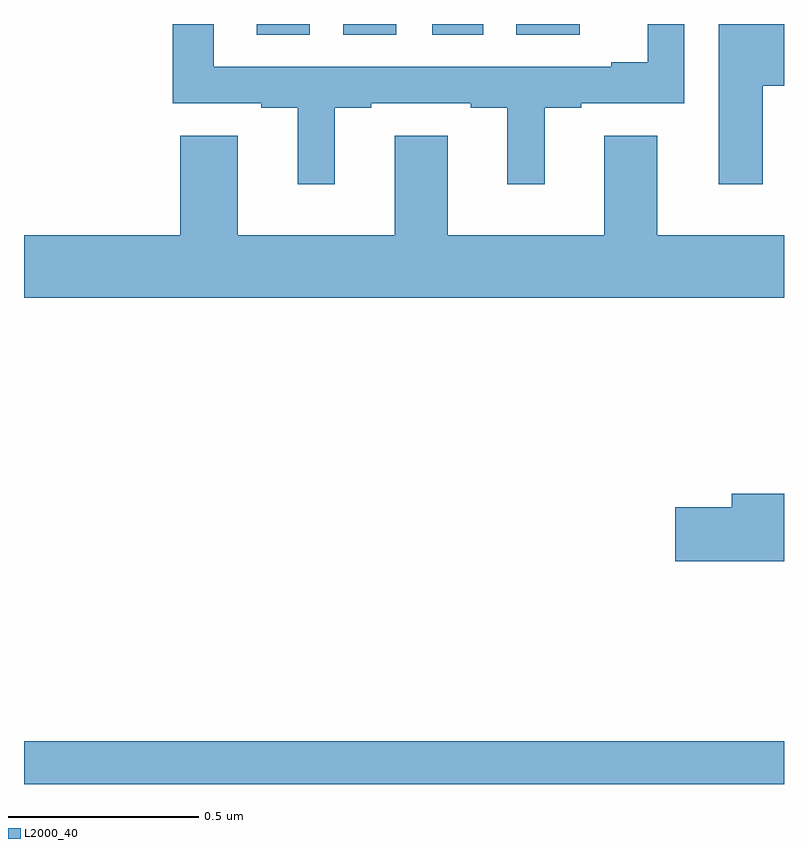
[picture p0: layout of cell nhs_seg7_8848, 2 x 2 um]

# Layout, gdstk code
import gdstk
lib = gdstk.Library(unit=1e-6, precision=1e-09)
def R(c, l, rs):  # rectangles x0, y0, x1, y1
    for r in rs: c.add(gdstk.rectangle(r[:2], r[2:], *l))
def P(c, l, *ps):  # polygons
    for p in ps: c.add(gdstk.Polygon(p, *l))
L2000_40 = (2000, 40)

nhs_seg7_8848 = lib.new_cell('nhs_seg7_8848')
R(nhs_seg7_8848, L2000_40, [(230,1002,232,1002.112), (230.612,1003.972,230.752,1004), (230.84,1003.972,230.98,1004), (231.074,1003.972,231.208,1004), (231.296,1003.972,231.463,1004)])
P(nhs_seg7_8848, L2000_40, [(230.818,1003.779),(230.914,1003.779),(230.914,1003.791),(231.176,1003.791),(231.176,1003.779),(231.272,1003.779),(231.272,1003.578),(231.37,1003.578),(231.37,1003.779),(231.466,1003.779),(231.466,1003.791),(231.738,1003.791),(231.738,1004),(231.641,1004),(231.641,1003.9),(231.545,1003.9),(231.545,1003.887),(230.499,1003.887),(230.499,1004),(230.391,1004),(230.391,1003.791),(230.624,1003.791),(230.624,1003.779),(230.72,1003.779),(230.72,1003.578),(230.818,1003.578)],
  [(231.944,1003.838),(232,1003.838),(232,1004),(231.828,1004),(231.828,1003.578),(231.944,1003.578)],
  [(232,1003.444),(231.667,1003.444),(231.667,1003.706),(231.527,1003.706),(231.527,1003.444),(231.115,1003.444),(231.115,1003.706),(230.975,1003.706),(230.975,1003.444),(230.563,1003.444),(230.563,1003.706),(230.411,1003.706),(230.411,1003.444),(230,1003.444),(230,1003.28),(232,1003.28)],
  [(232,1002.764),(231.863,1002.764),(231.863,1002.728),(231.714,1002.728),(231.714,1002.586),(232,1002.586)])

lib.write_gds('nhs_seg7_8848.gds')
